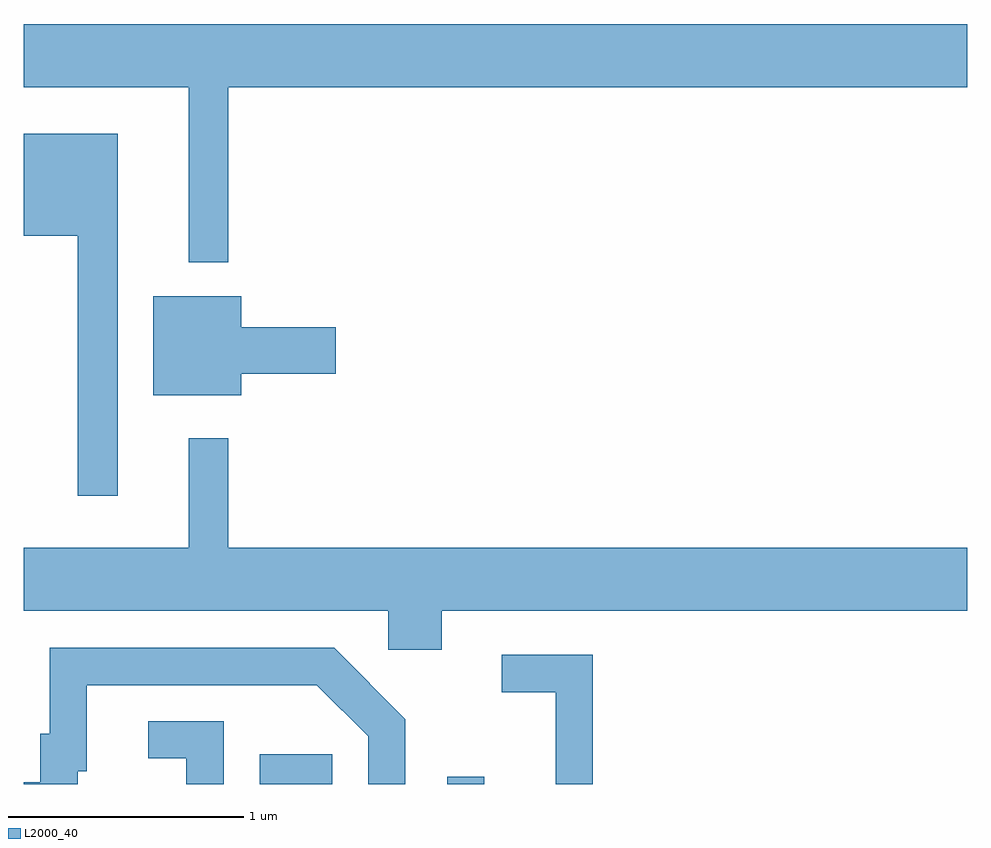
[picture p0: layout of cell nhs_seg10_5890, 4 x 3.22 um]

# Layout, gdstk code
import gdstk
lib = gdstk.Library(unit=1e-6, precision=1e-09)
def R(c, l, rs):  # rectangles x0, y0, x1, y1
    for r in rs: c.add(gdstk.rectangle(r[:2], r[2:], *l))
def P(c, l, *ps):  # polygons
    for p in ps: c.add(gdstk.Polygon(p, *l))
L2000_40 = (2000, 40)

nhs_seg10_5890 = lib.new_cell('nhs_seg10_5890')
R(nhs_seg10_5890, L2000_40, [(360.611,2106.522,360.919,2106.649), (361.406,2106.522,361.564,2106.553)])
P(nhs_seg10_5890, L2000_40, [(360.479,2109.476),(363.611,2109.476),(363.611,2109.744),(359.611,2109.744),(359.611,2109.476),(360.311,2109.476),(360.311,2108.733),(360.479,2108.733)],
  [(360.009,2109.279),(359.611,2109.279),(359.611,2108.846),(359.841,2108.846),(359.841,2107.743),(360.009,2107.743)],
  [(360.534,2108.261),(360.934,2108.261),(360.934,2108.459),(360.534,2108.459),(360.534,2108.589),(360.161,2108.589),(360.161,2108.171),(360.534,2108.171)],
  [(361.384,2107.256),(363.611,2107.256),(363.611,2107.524),(360.479,2107.524),(360.479,2107.988),(360.311,2107.988),(360.311,2107.524),(359.611,2107.524),(359.611,2107.256),(361.156,2107.256),(361.156,2107.091),(361.384,2107.091)],
  [(359.839,2106.576),(359.879,2106.576),(359.879,2106.941),(360.854,2106.941),(361.071,2106.724),(361.071,2106.522),(361.229,2106.522),(361.229,2106.797),(360.927,2107.099),(359.721,2107.099),(359.721,2106.734),(359.681,2106.734),(359.681,2106.529),(359.611,2106.529),(359.611,2106.522),(359.839,2106.522)],
  [(362.024,2107.069),(361.638,2107.069),(361.638,2106.911),(361.866,2106.911),(361.866,2106.522),(362.024,2106.522)],
  [(360.459,2106.789),(360.138,2106.789),(360.138,2106.631),(360.301,2106.631),(360.301,2106.522),(360.459,2106.522)])

lib.write_gds('nhs_seg10_5890.gds')
